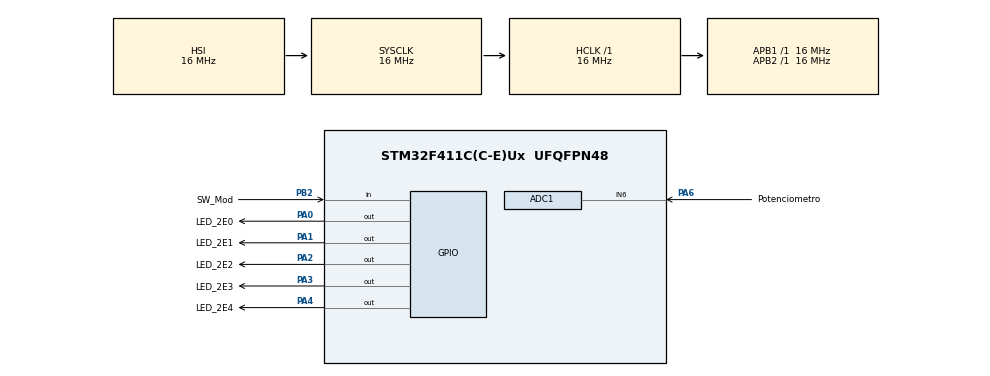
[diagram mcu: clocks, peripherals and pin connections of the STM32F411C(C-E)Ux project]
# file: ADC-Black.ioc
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ADC1.Channel-2\#ChannelRegularConversion=ADC_CHANNEL_6
ADC1.NbrOfConversionFlag=1
ADC1.Rank-2\#ChannelRegularConversion=1
ADC1.SamplingTime-2\#ChannelRegularConversion=ADC_SAMPLETIME_3CYCLES
ADC1.master=1
Mcu.Family=STM32F4
Mcu.Name=STM32F411C(C-E)Ux
Mcu.Package=UFQFPN48
NVIC.ADC_IRQn=true\:0\:0\:false\:false\:true\:true\:true\:true
NVIC.PriorityGroup=NVIC_PRIORITYGROUP_4
PA0-WKUP.GPIO_Label=LED_2E0
PA0-WKUP.Signal=GPIO_Output
PA1.GPIO_Label=LED_2E1
PA1.Signal=GPIO_Output
PA13.Mode=Serial_Wire
PA13.Signal=SYS_JTMS-SWDIO
PA14.Mode=Serial_Wire
PA14.Signal=SYS_JTCK-SWCLK
PA2.GPIO_Label=LED_2E2
PA2.Signal=GPIO_Output
PA3.GPIO_Label=LED_2E3
PA3.Signal=GPIO_Output
PA4.GPIO_Label=LED_2E4
PA4.Signal=GPIO_Output
PA6.GPIO_Label=Potenciometro
PA6.Signal=ADCx_IN6
PB2.GPIO_Label=SW_Mod
PB2.GPIO_PuPd=GPIO_PULLDOWN
PB2.Signal=GPIO_Input
PC14-OSC32_IN.Mode=LSE-External-Oscillator
PC14-OSC32_IN.Signal=RCC_OSC32_IN
PC15-OSC32_OUT.Mode=LSE-External-Oscillator
PC15-OSC32_OUT.Signal=RCC_OSC32_OUT
PH0\ -\ OSC_IN.Mode=HSE-External-Oscillator
PH0\ -\ OSC_IN.Signal=RCC_OSC_IN
PH1\ -\ OSC_OUT.Mode=HSE-External-Oscillator
PH1\ -\ OSC_OUT.Signal=RCC_OSC_OUT
ProjectManager.HeapSize=0x200
ProjectManager.StackSize=0x400
ProjectManager.TargetToolchain=STM32CubeIDE
RCC.AHBFreq_Value=16000000
RCC.APB1Freq_Value=16000000
RCC.APB2Freq_Value=16000000
RCC.CortexFreq_Value=16000000
RCC.HSE_VALUE=25000000
RCC.HSI_VALUE=16000000
RCC.SYSCLKFreq_VALUE=16000000
RCC.VCOOutputFreq_Value=192000000
SH.ADCx_IN6.0=ADC1_IN6,IN6
board=custom

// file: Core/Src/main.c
/* USER CODE BEGIN Header */
/**
  ******************************************************************************
  * @file           : main.c
  * @brief          : Main program body
  ******************************************************************************
  * @attention
  *
  * Copyright (c) 2026 STMicroelectronics.
  * All rights reserved.
  *
  * This software is licensed under terms that can be found in the LICENSE file
  * in the root directory of this software component.
  * If no LICENSE file comes with this software, it is provided AS-IS.
  *
  ******************************************************************************
  */
/* USER CODE END Header */
#include "main.h"

ADC_HandleTypeDef hadc1;

/* USER CODE BEGIN PV */
uint16_t mVPot;// Usada para armazenar o valor de tensao no potenciometro (em mV)
/* USER CODE END PV */

void SystemClock_Config(void);
static void MX_GPIO_Init(void);
static void MX_ADC1_Init(void);

/* USER CODE BEGIN 0 */
uint16_t LePot(ADC_HandleTypeDef * EntradaADC) // Faz conversão AD e retorna numero dentro do intervalo [0-3300]
{
    HAL_ADC_Start(&hadc1); // Inicia a conversão de sinal Analogico para sinal Digital
    HAL_ADC_PollForConversion(&hadc1, 100); // Faz o microcontrolador aguardar (por no máximo 100ms) até a conversão completar
    uint16_t LeiPot = HAL_ADC_GetValue(&hadc1)*3300/4095; // Lê o valor convertido [0-4095] e converte num intervalo [0-3300]
	return LeiPot;
}

void ContagemBin(uint16_t TensaomV) // 5 == Apenas LED_2^0 + LED_2^2 Ligados
{
    HAL_GPIO_WritePin(GPIOA, ~TensaomV, 0);
    HAL_GPIO_WritePin(GPIOA,  TensaomV, 1);
}

void ContagemPercentual(uint16_t TensaomV) // 5 == 100% LEDs Ligados
{
	static uint16_t mem = 0; //Memoria de modificacao (Necessária pois manipulamos 1 LED por vez não vários de uma vez como em binario)
	if (mem<TensaomV) //Se alterar o sentido aqui (maior ou menor), altera o sentido de crescimento dos LEDs (0->5 XOR 0<-5)
		HAL_GPIO_WritePin(GPIOA, (1 << (TensaomV-1)), 0);
	else
		HAL_GPIO_WritePin(GPIOA, (1 << (TensaomV-1)), 1);					  // 0<1 <2 <3 <4 <5
    mem=TensaomV; //Atualiza memoria para saber onde "está" a porcentagem agora (0<20<40<60<80<100)%
}
/* USER CODE END 0 */

int main(void)
{

  /* MCU Configuration--------------------------------------------------------*/

  /* Reset of all peripherals, Initializes the Flash interface and the Systick. */
  HAL_Init();

  /* Configure the system clock */
  SystemClock_Config();

  /* Initialize all configured peripherals */
  MX_GPIO_Init();
  MX_ADC1_Init();

  /* Infinite loop */
  /* USER CODE BEGIN WHILE */
  while (1)
  {
	    //Lê a tensão no potenciometro (e armazena em mVPot):
	    mVPot = LePot(&hadc1); // [0-3300]

	    //Verifica estado do Switch para decidir como será o incremento dos LEDs
	    ( (HAL_GPIO_ReadPin(GPIOB, SW_Mod_Pin)) == 1 )/*Está ativo*/?
			//Se sim:
	    	ContagemPercentual(mVPot/550) // 3300/6 = 550 [0-5]
			://Se não está ativo, então:
			ContagemBin(mVPot/104); // 3300/(2^5) ~= 104 [0-31]
  }
    /* USER CODE END WHILE */

}

void SystemClock_Config(void)
{
  RCC_OscInitTypeDef RCC_OscInitStruct = {0};
  RCC_ClkInitTypeDef RCC_ClkInitStruct = {0};

  /** Configure the main internal regulator output voltage
  */
  __HAL_RCC_PWR_CLK_ENABLE();
  __HAL_PWR_VOLTAGESCALING_CONFIG(PWR_REGULATOR_VOLTAGE_SCALE1);

  /** Initializes the RCC Oscillators according to the specified parameters
  * in the RCC_OscInitTypeDef structure.
  */
  RCC_OscInitStruct.OscillatorType = RCC_OSCILLATORTYPE_HSI;
  RCC_OscInitStruct.HSIState = RCC_HSI_ON;
  RCC_OscInitStruct.HSICalibrationValue = RCC_HSICALIBRATION_DEFAULT;
  RCC_OscInitStruct.PLL.PLLState = RCC_PLL_NONE;
  if (HAL_RCC_OscConfig(&RCC_OscInitStruct) != HAL_OK)
  {
    Error_Handler();
  }

  /** Initializes the CPU, AHB and APB buses clocks
  */
  RCC_ClkInitStruct.ClockType = RCC_CLOCKTYPE_HCLK|RCC_CLOCKTYPE_SYSCLK
                              |RCC_CLOCKTYPE_PCLK1|RCC_CLOCKTYPE_PCLK2;
  RCC_ClkInitStruct.SYSCLKSource = RCC_SYSCLKSOURCE_HSI;
  RCC_ClkInitStruct.AHBCLKDivider = RCC_SYSCLK_DIV1;
  RCC_ClkInitStruct.APB1CLKDivider = RCC_HCLK_DIV1;
  RCC_ClkInitStruct.APB2CLKDivider = RCC_HCLK_DIV1;

  if (HAL_RCC_ClockConfig(&RCC_ClkInitStruct, FLASH_LATENCY_0) != HAL_OK)
  {
    Error_Handler();
  }
}

static void MX_ADC1_Init(void)
{

  ADC_ChannelConfTypeDef sConfig = {0};

  /** Configure the global features of the ADC (Clock, Resolution, Data Alignment and number of conversion)
  */
  hadc1.Instance = ADC1;
  hadc1.Init.ClockPrescaler = ADC_CLOCK_SYNC_PCLK_DIV2;
  hadc1.Init.Resolution = ADC_RESOLUTION_12B;
  hadc1.Init.ScanConvMode = DISABLE;
  hadc1.Init.ContinuousConvMode = DISABLE;
  hadc1.Init.DiscontinuousConvMode = DISABLE;
  hadc1.Init.ExternalTrigConvEdge = ADC_EXTERNALTRIGCONVEDGE_NONE;
  hadc1.Init.ExternalTrigConv = ADC_SOFTWARE_START;
  hadc1.Init.DataAlign = ADC_DATAALIGN_RIGHT;
  hadc1.Init.NbrOfConversion = 1;
  hadc1.Init.DMAContinuousRequests = DISABLE;
  hadc1.Init.EOCSelection = ADC_EOC_SINGLE_CONV;
  if (HAL_ADC_Init(&hadc1) != HAL_OK)
  {
    Error_Handler();
  }

  /** Configure for the selected ADC regular channel its corresponding rank in the sequencer and its sample time.
  */
  sConfig.Channel = ADC_CHANNEL_6;
  sConfig.Rank = 1;
  sConfig.SamplingTime = ADC_SAMPLETIME_3CYCLES;
  if (HAL_ADC_ConfigChannel(&hadc1, &sConfig) != HAL_OK)
  {
    Error_Handler();
  }

}

static void MX_GPIO_Init(void)
{
  GPIO_InitTypeDef GPIO_InitStruct = {0};

  /* GPIO Ports Clock Enable */
  __HAL_RCC_GPIOC_CLK_ENABLE();
  __HAL_RCC_GPIOH_CLK_ENABLE();
  __HAL_RCC_GPIOA_CLK_ENABLE();
  __HAL_RCC_GPIOB_CLK_ENABLE();

  /*Configure GPIO pin Output Level */
  HAL_GPIO_WritePin(GPIOA, LED_2E0_Pin|LED_2E1_Pin|LED_2E2_Pin|LED_2E3_Pin
                          |LED_2E4_Pin, GPIO_PIN_RESET);

  /*Configure GPIO pins : LED_2E0_Pin LED_2E1_Pin LED_2E2_Pin LED_2E3_Pin
                           LED_2E4_Pin */
  GPIO_InitStruct.Pin = LED_2E0_Pin|LED_2E1_Pin|LED_2E2_Pin|LED_2E3_Pin
                          |LED_2E4_Pin;
  GPIO_InitStruct.Mode = GPIO_MODE_OUTPUT_PP;
  GPIO_InitStruct.Pull = GPIO_NOPULL;
  GPIO_InitStruct.Speed = GPIO_SPEED_FREQ_LOW;
  HAL_GPIO_Init(GPIOA, &GPIO_InitStruct);

  /*Configure GPIO pin : SW_Mod_Pin */
  GPIO_InitStruct.Pin = SW_Mod_Pin;
  GPIO_InitStruct.Mode = GPIO_MODE_INPUT;
  GPIO_InitStruct.Pull = GPIO_PULLDOWN;
  HAL_GPIO_Init(SW_Mod_GPIO_Port, &GPIO_InitStruct);

}

void Error_Handler(void)
{
  __disable_irq();
  while (1)
  {
  }
}
